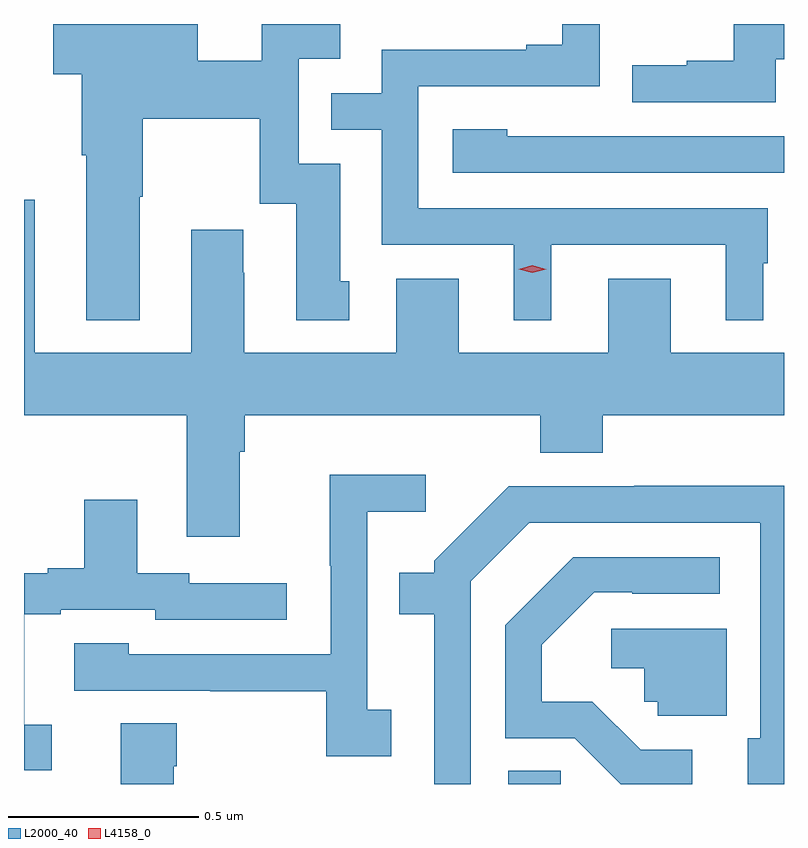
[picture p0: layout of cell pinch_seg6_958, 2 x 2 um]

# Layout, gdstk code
import gdstk
lib = gdstk.Library(unit=1e-6, precision=1e-09)
def R(c, l, rs):  # rectangles x0, y0, x1, y1
    for r in rs: c.add(gdstk.rectangle(r[:2], r[2:], *l))
def P(c, l, *ps):  # polygons
    for p in ps: c.add(gdstk.Polygon(p, *l))
L2000_40 = (2000, 40)
L4158_0 = (4158, 0)

pinch_seg6_958 = lib.new_cell('pinch_seg6_958')
R(pinch_seg6_958, L2000_40, [(367.229,918.393,367.367,918.428)])
P(pinch_seg6_958, L2000_40, [(366.259,919.939),(366.267,919.939),(366.267,920.144),(366.575,920.144),(366.575,919.92),(366.671,919.92),(366.671,919.614),(366.811,919.614),(366.811,919.716),(366.787,919.716),(366.787,920.025),(366.678,920.025),(366.678,920.301),(366.787,920.301),(366.787,920.393),(366.581,920.393),(366.581,920.296),(366.412,920.296),(366.412,920.393),(366.032,920.393),(366.032,920.261),(366.107,920.261),(366.107,920.048),(366.119,920.048),(366.119,919.613),(366.259,919.613)],
  [(367.342,919.812),(367.802,919.812),(367.802,919.613),(367.9,919.613),(367.9,919.764),(367.912,919.764),(367.912,919.908),(366.993,919.908),(366.993,920.229),(367.47,920.229),(367.47,920.393),(367.372,920.393),(367.372,920.338),(367.277,920.338),(367.277,920.325),(366.897,920.325),(366.897,920.211),(366.763,920.211),(366.763,920.115),(366.897,920.115),(366.897,919.812),(367.244,919.812),(367.244,919.613),(367.342,919.613)],
  [(367.933,920.3),(367.955,920.3),(367.955,920.393),(367.823,920.393),(367.823,920.296),(367.699,920.296),(367.699,920.284),(367.555,920.284),(367.555,920.187),(367.933,920.187)],
  [(367.955,920.097),(367.463,920.097),(367.463,920.098),(367.227,920.098),(367.227,920.116),(367.083,920.116),(367.083,920.001),(367.955,920.001)],
  [(366.523,919.268),(366.536,919.268),(366.536,919.364),(367.313,919.364),(367.313,919.265),(367.478,919.265),(367.478,919.364),(367.955,919.364),(367.955,919.528),(367.657,919.528),(367.657,919.723),(367.493,919.723),(367.493,919.528),(367.099,919.528),(367.099,919.723),(366.935,919.723),(366.935,919.528),(366.535,919.528),(366.535,919.739),(366.532,919.739),(366.532,919.852),(366.395,919.852),(366.395,919.528),(365.983,919.528),(365.983,919.93),(365.955,919.93),(365.955,919.364),(366.383,919.364),(366.383,919.044),(366.523,919.044)],
  [(366.922,918.588),(366.858,918.588),(366.858,919.109),(367.012,919.109),(367.012,919.207),(366.76,919.207),(366.76,918.968),(366.762,918.968),(366.762,918.735),(366.231,918.735),(366.231,918.763),(366.087,918.763),(366.087,918.639),(366.445,918.639),(366.445,918.637),(366.75,918.637),(366.75,918.466),(366.922,918.466)],
  [(367.131,918.927),(367.284,919.08),(367.893,919.08),(367.893,918.514),(367.859,918.514),(367.859,918.393),(367.955,918.393),(367.955,919.178),(367.561,919.178),(367.561,919.176),(367.23,919.176),(367.035,918.981),(367.035,918.949),(366.943,918.949),(366.943,918.84),(367.034,918.84),(367.034,918.393),(367.131,918.393)],
  [(366.028,918.549),(365.956,918.549),(365.956,918.84),(366.052,918.84),(366.052,918.852),(366.3,918.852),(366.3,918.825),(366.646,918.825),(366.646,918.921),(366.39,918.921),(366.39,918.948),(366.253,918.948),(366.253,919.141),(366.113,919.141),(366.113,918.961),(366.017,918.961),(366.017,918.948),(365.955,918.948),(365.955,918.429),(366.028,918.429)],
  [(367.714,918.483),(367.578,918.483),(367.451,918.61),(367.318,918.61),(367.318,918.76),(367.455,918.897),(367.555,918.897),(367.555,918.894),(367.786,918.894),(367.786,918.99),(367.4,918.99),(367.221,918.811),(367.221,918.513),(367.404,918.513),(367.525,918.393),(367.714,918.393)],
  [(367.804,918.801),(367.5,918.801),(367.5,918.698),(367.587,918.698),(367.587,918.609),(367.623,918.609),(367.623,918.573),(367.804,918.573)],
  [(366.349,918.44),(366.357,918.44),(366.357,918.553),(366.209,918.553),(366.209,918.393),(366.349,918.393)])
P(pinch_seg6_958, L4158_0, [(367.293,919.738),(367.257,919.748),(367.257,919.748),(367.257,919.748),(367.293,919.758),(367.329,919.748),(367.329,919.748),(367.329,919.748)])

lib.write_gds('pinch_seg6_958.gds')
